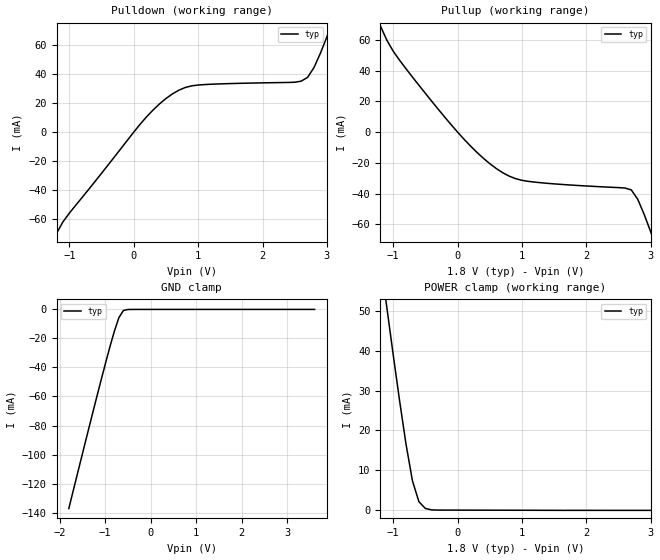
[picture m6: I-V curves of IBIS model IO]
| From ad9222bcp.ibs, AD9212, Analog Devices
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[MODEL] IO   |  SDIO/ODM PIN  data is from simulations
Model_type I/O
|   typ   min   max
C_comp   3.000pF   2.000pF   4.000pF
Vref  =   0.000V
Vinl = 0.36
Vinh = 1.44
[Voltage Range] 1.800V NA NA
[GND Clamp Reference] 0.000V NA NA
[POWER Clamp Reference] 1.800V NA NA
[PULLDOWN Reference] 0.00V NA  NA
[PULLUP Reference] 1.80V NA NA
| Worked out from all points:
|   slope of the pulldown table from 0 to 0.27 V, typ, clamps not added: 19.4 ohm
|   slope of the pullup table from 0 to 0.27 V, typ, clamps not added: 22.6 ohm
|   GND clamp passes 1 mA (typ) near -0.61 V on its own axis
|   POWER clamp passes 1 mA (typ) near -0.53 V on its own axis
[GND CLAMP]
-1.8V     -137.2mA   NA         NA
-1.2V     -62.04mA   NA         NA
-900mV    -26.12mA   NA         NA
-800mV    -15.09mA   NA         NA
-700mV    -5.675mA   NA         NA
-600mV    -725.5uA   NA         NA
-400mV    -18.32uA   NA         NA
3.6V      0A         NA         NA
[POWER CLAMP]
-1.8V     297mA      NA         NA
-1.1V     51.03mA    NA         NA
-900mV    27.45mA    NA         NA
-800mV    16.55mA    NA         NA
-700mV    7.377mA    NA         NA
-600mV    2.168mA    NA         NA
-500mV    480.8uA    NA         NA
-400mV    111.8uA    NA         NA
-300mV    71.6uA     NA         NA
3.6V      0A         NA         NA
[PULLUP]
-1.8V     297mA      NA         NA
-1.2V     69.33mA    NA         NA
-900mV    46.78mA    NA         NA
-200mV    9.826mA    NA         NA
300mV     -13.14mA   NA         NA
700mV     -26.4mA    NA         NA
1.1V      -32.09mA   NA         NA
2.7V      -37.68mA   NA         NA
2.8V      -43.77mA   NA         NA
3V        -64.82mA   NA         NA
3.1V      -76.57mA   NA         NA
3.6V      -138.3mA   NA         NA
[PULLDOWN]
-1.8V     -139.5mA   NA         NA
-1.3V     -80.14mA   NA         NA
-1.2V     -70.13mA   NA         NA
-1V       -56.08mA   NA         NA
100mV     5.509mA    NA         NA
600mV     26.43mA    NA         NA
1V        32.58mA    NA         NA
2.6V      35.24mA    NA         NA
2.8V      44.7mA     NA         NA
3V        65.88mA    NA         NA
3.1V      77.64mA    NA         NA
3.6V      297mA      NA         NA
[RAMP]
dV/dt_r   0.84V/36.0ns   NA   NA
dV/dt_f   0.84V/23.2ns   NA   NA
|-----end IO model----------------------------------------------------------
